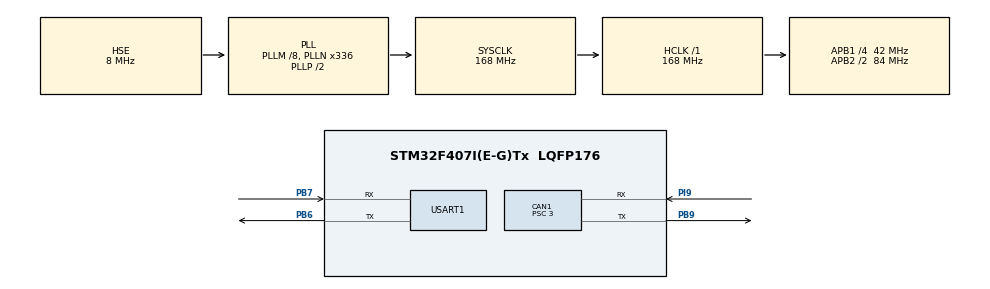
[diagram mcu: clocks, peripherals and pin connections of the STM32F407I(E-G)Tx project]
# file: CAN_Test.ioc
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CAN1.BS1=CAN_BS1_12TQ
CAN1.CalculateTimeQuantum=71.42857142857143
CAN1.Prescaler=3
Mcu.Family=STM32F4
Mcu.Name=STM32F407I(E-G)Tx
Mcu.Package=LQFP176
NVIC.CAN1_RX0_IRQn=true\:0\:0\:false\:false\:true\:true
NVIC.PriorityGroup=NVIC_PRIORITYGROUP_4
PB6.Mode=Asynchronous
PB6.Signal=USART1_TX
PB7.Mode=Asynchronous
PB7.Signal=USART1_RX
PB9.Mode=Master
PB9.Signal=CAN1_TX
PH0-OSC_IN.Mode=HSE-External-Oscillator
PH0-OSC_IN.Signal=RCC_OSC_IN
PH1-OSC_OUT.Mode=HSE-External-Oscillator
PH1-OSC_OUT.Signal=RCC_OSC_OUT
PI9.Mode=Master
PI9.Signal=CAN1_RX
ProjectManager.HeapSize=0x200
ProjectManager.StackSize=0x400
ProjectManager.TargetToolchain=MDK-ARM V5
RCC.48MHZClocksFreq_Value=84000000
RCC.AHBFreq_Value=168000000
RCC.APB1CLKDivider=RCC_HCLK_DIV4
RCC.APB1Freq_Value=42000000
RCC.APB1TimFreq_Value=84000000
RCC.APB2CLKDivider=RCC_HCLK_DIV2
RCC.APB2Freq_Value=84000000
RCC.APB2TimFreq_Value=168000000
RCC.CortexFreq_Value=168000000
RCC.HCLKFreq_Value=168000000
RCC.HSE_VALUE=8000000
RCC.HSI_VALUE=16000000
RCC.LSE_VALUE=32768
RCC.PLLM=8
RCC.PLLN=336
RCC.PLLSourceVirtual=RCC_PLLSOURCE_HSE
RCC.SYSCLKFreq_VALUE=168000000
RCC.SYSCLKSource=RCC_SYSCLKSOURCE_PLLCLK
RCC.VCOOutputFreq_Value=336000000
USART1.VirtualMode=VM_ASYNC
board=custom

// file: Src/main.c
/**
  ******************************************************************************
  * @file           : main.c
  * @brief          : Main program body
  ******************************************************************************
  ** This notice applies to any and all portions of this file
  * that are not between comment pairs USER CODE BEGIN and
  * USER CODE END. Other portions of this file, whether
  * inserted by the user or by software development tools
  * are owned by their respective copyright owners.
  *
  * COPYRIGHT(c) 2019 STMicroelectronics
  *
  * Redistribution and use in source and binary forms, with or without modification,
  * are permitted provided that the following conditions are met:
  *   1. Redistributions of source code must retain the above copyright notice,
  *      this list of conditions and the following disclaimer.
  *   2. Redistributions in binary form must reproduce the above copyright notice,
  *      this list of conditions and the following disclaimer in the documentation
  *      and/or other materials provided with the distribution.
  *   3. Neither the name of STMicroelectronics nor the names of its contributors
  *      may be used to endorse or promote products derived from this software
  *      without specific prior written permission.
  *
  * THIS SOFTWARE IS PROVIDED BY THE COPYRIGHT HOLDERS AND CONTRIBUTORS "AS IS"
  * AND ANY EXPRESS OR IMPLIED WARRANTIES, INCLUDING, BUT NOT LIMITED TO, THE
  * IMPLIED WARRANTIES OF MERCHANTABILITY AND FITNESS FOR A PARTICULAR PURPOSE ARE
  * DISCLAIMED. IN NO EVENT SHALL THE COPYRIGHT HOLDER OR CONTRIBUTORS BE LIABLE
  * FOR ANY DIRECT, INDIRECT, INCIDENTAL, SPECIAL, EXEMPLARY, OR CONSEQUENTIAL
  * DAMAGES (INCLUDING, BUT NOT LIMITED TO, PROCUREMENT OF SUBSTITUTE GOODS OR
  * SERVICES; LOSS OF USE, DATA, OR PROFITS; OR BUSINESS INTERRUPTION) HOWEVER
  * CAUSED AND ON ANY THEORY OF LIABILITY, WHETHER IN CONTRACT, STRICT LIABILITY,
  * OR TORT (INCLUDING NEGLIGENCE OR OTHERWISE) ARISING IN ANY WAY OUT OF THE USE
  * OF THIS SOFTWARE, EVEN IF ADVISED OF THE POSSIBILITY OF SUCH DAMAGE.
  *
  ******************************************************************************
  */
#include "main.h"
#include "stm32f4xx_hal.h"
#include "can.h"
#include "usart.h"
#include "gpio.h"

/* USER CODE BEGIN PV */
/* Private variables ---------------------------------------------------------*/

/* USER CODE END PV */

void SystemClock_Config(void);

/* USER CODE BEGIN PFP */
/* Private function prototypes -----------------------------------------------*/

/* USER CODE END PFP */

/* USER CODE BEGIN 0 */
int fputc(int ch, FILE *f)
{
  /* write a character to the uart1 and Loop until the end of transmission */
	HAL_UART_Transmit(&huart1,(uint8_t *)&ch,1,20);
  return ch;
}

void CAN_TRANSMIT(void)
{
	CAN_TxHeaderTypeDef TxMessage1;
  TxMessage1.DLC=8;
  TxMessage1.StdId=0x018;
  TxMessage1.ExtId=0x00002018;
  TxMessage1.IDE=CAN_ID_EXT;
  TxMessage1.RTR=CAN_RTR_DATA;
   uint8_t TR_BUF[8]="20180411";

   if(HAL_CAN_AddTxMessage(&hcan1,&TxMessage1,TR_BUF,(uint32_t*)CAN_TX_MAILBOX0)!=HAL_OK)
  {
     printf("发送失败");
  }
}

typedef struct
{
   uint8_t Data[8];
}CAN_RecvMsg;

CAN_RecvMsg can_recvmsg;
	CAN_RxHeaderTypeDef RxMessage1;

void HAL_CAN_RxFifo0MsgPendingCallback(CAN_HandleTypeDef *hcan)
{

  if(hcan == &hcan1)
//	if(hcan->Instance==CAN1)
  {
     HAL_CAN_GetRxMessage(hcan,CAN_RX_FIFO0,&RxMessage1,can_recvmsg.Data);
     printf("\r\n%s",can_recvmsg.Data);
  }

}
void HAL_CAN_RxFifo1MsgPendingCallback(CAN_HandleTypeDef *hcan)
{
  if(hcan->Instance==CAN2)
  {
     HAL_CAN_GetRxMessage(hcan,CAN_RX_FIFO1,&RxMessage1,can_recvmsg.Data);
     printf("\r\n%s",can_recvmsg.Data);
  }
}
	/*
	HAL_CAN_ActivateNotification(&hcan1,CAN_IT_RX_FIFO0_MSG_PENDING);

//接收,两邮箱
typedef struct
{
        uint8_t Data[8];
}CAN_RecvMsg;

void HAL_CAN_RxFifo0MsgPendingCallback(CAN_HandleTypeDef *hcan)
{
  if(hcan->Instance==CAN1)
  {
     HAL_CAN_GetRxMessage(hcan,CAN_RX_FIFO0,&RxMessage1,can_recvmsg.Data);
     printf("\r\n%s",can_recvmsg.Data);
  }

}

void HAL_CAN_RxFifo1MsgPendingCallback(CAN_HandleTypeDef *hcan)
{
  if(hcan->Instance==CAN2)
  {
     HAL_CAN_GetRxMessage(hcan,CAN_RX_FIFO1,&RxMessage1,can_recvmsg.Data);
     printf("\r\n%s",can_recvmsg.Data);
  }
}

void HAL_CAN_RxFifo1FullCallback(CAN_HandleTypeDef *hcan)
{

}
*/

/* USER CODE END 0 */

int main(void)
{
  /* USER CODE BEGIN 1 */

 HAL_StatusTypeDef  HAL_Status;
  /* USER CODE END 1 */

  /* MCU Configuration----------------------------------------------------------*/

  /* Reset of all peripherals, Initializes the Flash interface and the Systick. */
  HAL_Init();

  /* Configure the system clock */
  SystemClock_Config();

  /* Initialize all configured peripherals */
  MX_GPIO_Init();
  MX_CAN1_Init();
  MX_USART1_UART_Init();
  /* USER CODE BEGIN 2 */
HAL_CAN_Start(&hcan1);
HAL_Status = HAL_CAN_ActivateNotification(&hcan1,CAN_IT_RX_FIFO0_MSG_PENDING);
 if(HAL_Status!=HAL_OK){
	printf("挂机中断失败\r\n");
  }
printf("CAN test\r\n");
  /* USER CODE END 2 */

  /* Infinite loop */
  while (1)
  {

  /* USER CODE BEGIN 3 */
		HAL_Delay(5000);
		CAN_TRANSMIT();
  }
  /* USER CODE END 3 */

}

void SystemClock_Config(void)
{

  RCC_OscInitTypeDef RCC_OscInitStruct;
  RCC_ClkInitTypeDef RCC_ClkInitStruct;

    /**Configure the main internal regulator output voltage
    */
  __HAL_RCC_PWR_CLK_ENABLE();

  __HAL_PWR_VOLTAGESCALING_CONFIG(PWR_REGULATOR_VOLTAGE_SCALE1);

    /**Initializes the CPU, AHB and APB busses clocks
    */
  RCC_OscInitStruct.OscillatorType = RCC_OSCILLATORTYPE_HSE;
  RCC_OscInitStruct.HSEState = RCC_HSE_ON;
  RCC_OscInitStruct.PLL.PLLState = RCC_PLL_ON;
  RCC_OscInitStruct.PLL.PLLSource = RCC_PLLSOURCE_HSE;
  RCC_OscInitStruct.PLL.PLLM = 8;
  RCC_OscInitStruct.PLL.PLLN = 336;
  RCC_OscInitStruct.PLL.PLLP = RCC_PLLP_DIV2;
  RCC_OscInitStruct.PLL.PLLQ = 4;
  if (HAL_RCC_OscConfig(&RCC_OscInitStruct) != HAL_OK)
  {
    _Error_Handler(__FILE__, __LINE__);
  }

    /**Initializes the CPU, AHB and APB busses clocks
    */
  RCC_ClkInitStruct.ClockType = RCC_CLOCKTYPE_HCLK|RCC_CLOCKTYPE_SYSCLK
                              |RCC_CLOCKTYPE_PCLK1|RCC_CLOCKTYPE_PCLK2;
  RCC_ClkInitStruct.SYSCLKSource = RCC_SYSCLKSOURCE_PLLCLK;
  RCC_ClkInitStruct.AHBCLKDivider = RCC_SYSCLK_DIV1;
  RCC_ClkInitStruct.APB1CLKDivider = RCC_HCLK_DIV4;
  RCC_ClkInitStruct.APB2CLKDivider = RCC_HCLK_DIV2;

  if (HAL_RCC_ClockConfig(&RCC_ClkInitStruct, FLASH_LATENCY_5) != HAL_OK)
  {
    _Error_Handler(__FILE__, __LINE__);
  }

    /**Configure the Systick interrupt time
    */
  HAL_SYSTICK_Config(HAL_RCC_GetHCLKFreq()/1000);

    /**Configure the Systick
    */
  HAL_SYSTICK_CLKSourceConfig(SYSTICK_CLKSOURCE_HCLK);

  /* SysTick_IRQn interrupt configuration */
  HAL_NVIC_SetPriority(SysTick_IRQn, 0, 0);
}

void _Error_Handler(char *file, int line)
{
  while(1)
  {
  }
}

/************************ (C) COPYRIGHT STMicroelectronics *****END OF FILE****/
